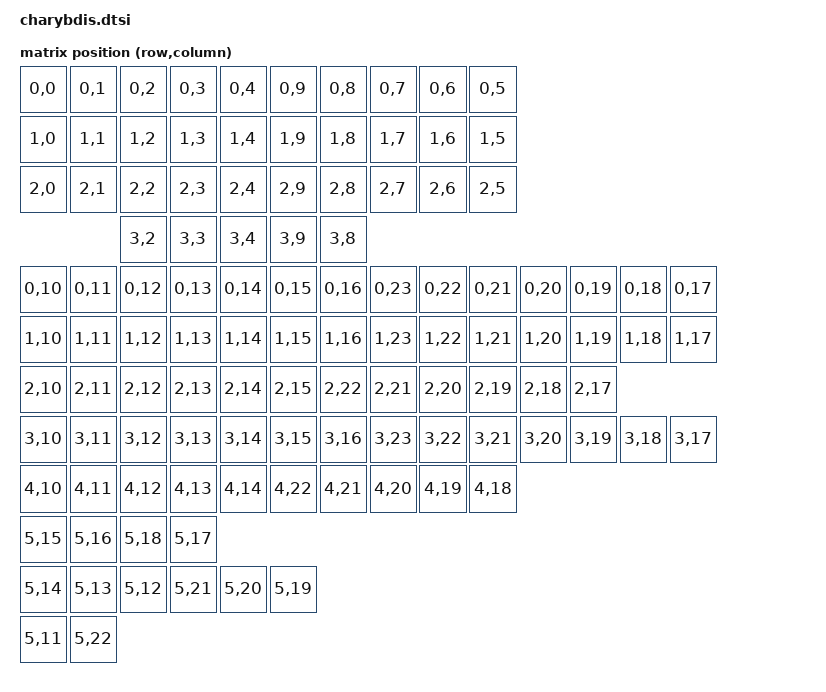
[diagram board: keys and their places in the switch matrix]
#include <dt-bindings/zmk/matrix_transform.h>
#include <physical_layouts.dtsi>

/ {
    chosen {
        zmk,kscan = &kscan0;
        zmk,physical-layout = &charybdis_5col_layout;
    };

    default_transform: keymap_transform_0 {
        compatible = "zmk,matrix-transform";
        columns = <24>;
        rows = <6>;

        map = <
    /* Charybdis (positions 0-34) */
    RC(0,0) RC(0,1) RC(0,2) RC(0,3) RC(0,4)  RC(0,9) RC(0,8) RC(0,7) RC(0,6) RC(0,5)
    RC(1,0) RC(1,1) RC(1,2) RC(1,3) RC(1,4)  RC(1,9) RC(1,8) RC(1,7) RC(1,6) RC(1,5)
    RC(2,0) RC(2,1) RC(2,2) RC(2,3) RC(2,4)  RC(2,9) RC(2,8) RC(2,7) RC(2,6) RC(2,5)
                    RC(3,2) RC(3,3) RC(3,4)  RC(3,9) RC(3,8)
    /* Ergodox (positions 35-110, 76 keys) */
    /* Row 0 - number row: 7L + 7R */
    RC(0,10) RC(0,11) RC(0,12) RC(0,13) RC(0,14) RC(0,15) RC(0,16)  RC(0,23) RC(0,22) RC(0,21) RC(0,20) RC(0,19) RC(0,18) RC(0,17)
    /* Row 1 - top alpha: 7L + 7R */
    RC(1,10) RC(1,11) RC(1,12) RC(1,13) RC(1,14) RC(1,15) RC(1,16)  RC(1,23) RC(1,22) RC(1,21) RC(1,20) RC(1,19) RC(1,18) RC(1,17)
    /* Row 2 - home row: 6L + 6R (no inner column) */
    RC(2,10) RC(2,11) RC(2,12) RC(2,13) RC(2,14) RC(2,15)  RC(2,22) RC(2,21) RC(2,20) RC(2,19) RC(2,18) RC(2,17)
    /* Row 3 - bottom alpha: 7L + 7R */
    RC(3,10) RC(3,11) RC(3,12) RC(3,13) RC(3,14) RC(3,15) RC(3,16)  RC(3,23) RC(3,22) RC(3,21) RC(3,20) RC(3,19) RC(3,18) RC(3,17)
    /* Row 4 - bottom mods: 5L + 5R */
    RC(4,10) RC(4,11) RC(4,12) RC(4,13) RC(4,14)  RC(4,22) RC(4,21) RC(4,20) RC(4,19) RC(4,18)
    /* Row 5 - thumb cluster: 6L + 6R */
    RC(5,15) RC(5,16)  RC(5,18) RC(5,17)
    RC(5,14) RC(5,13) RC(5,12)  RC(5,21) RC(5,20) RC(5,19)
    RC(5,11)  RC(5,22)

        >;
    };

    kscan0: kscan {
        diode-direction = "row2col";
	    wakeup-source;
    };

    charybdis_5col_layout: charybdis_5col_layout{
        compatible = "zmk,physical-layout";
        display-name = "5-column";

        transform = <&default_transform>;

        keys  //                     w   h    x    y     rot    rx    ry
            = <&key_physical_attrs 100 100    0   57       0     0     0>
            , <&key_physical_attrs 100 100  100   12       0     0     0>
            , <&key_physical_attrs 100 100  200    0       0     0     0>
            , <&key_physical_attrs 100 100  300   12       0     0     0>
            , <&key_physical_attrs 100 100  400   12       0     0     0>
            , <&key_physical_attrs 100 100  800   12       0     0     0>
            , <&key_physical_attrs 100 100  900   12       0     0     0>
            , <&key_physical_attrs 100 100 1000    0       0     0     0>
            , <&key_physical_attrs 100 100 1100   12       0     0     0>
            , <&key_physical_attrs 100 100 1200   57       0     0     0>
            , <&key_physical_attrs 100 100    0  157       0     0     0>
            , <&key_physical_attrs 100 100  100  112       0     0     0>
            , <&key_physical_attrs 100 100  200  100       0     0     0>
            , <&key_physical_attrs 100 100  300  112       0     0     0>
            , <&key_physical_attrs 100 100  400  112       0     0     0>
            , <&key_physical_attrs 100 100  800  112       0     0     0>
            , <&key_physical_attrs 100 100  900  112       0     0     0>
            , <&key_physical_attrs 100 100 1000  100       0     0     0>
            , <&key_physical_attrs 100 100 1100  112       0     0     0>
            , <&key_physical_attrs 100 100 1200  157       0     0     0>
            , <&key_physical_attrs 100 100    0  257       0     0     0>
            , <&key_physical_attrs 100 100  100  212       0     0     0>
            , <&key_physical_attrs 100 100  200  200       0     0     0>
            , <&key_physical_attrs 100 100  300  212       0     0     0>
            , <&key_physical_attrs 100 100  400  212       0     0     0>
            , <&key_physical_attrs 100 100  800  212       0     0     0>
            , <&key_physical_attrs 100 100  900  212       0     0     0>
            , <&key_physical_attrs 100 100 1000  200       0     0     0>
            , <&key_physical_attrs 100 100 1100  212       0     0     0>
            , <&key_physical_attrs 100 100 1200  257       0     0     0>
            , <&key_physical_attrs 100 100  248  312       0     0     0>
            , <&key_physical_attrs 100 100  248  312    1500   298   789>
            , <&key_physical_attrs 100 100  248  312    3000   298   789>
            , <&key_physical_attrs 100 100  952  312 (-3000)  1002   789>
            , <&key_physical_attrs 100 100  952  312 (-1500)  1002   789>
            ;
    };

    charybdis_position_map {
        compatible = "zmk,physical-layout-position-map";

        complete;

        ten {
            physical-layout = <&charybdis_5col_layout>;
            positions
                = <105  0  1  2  3  4  5  6  7  8  9 106>
                , <107 10 11 12 13 14 15 16 17 18 19 108>
                , <109 20 21 22 23 24 25 26 27 28 29 110>
                , <          30 31 32 33 34             >
                ;
        };
    };

    split_inputs {
        #address-cells = <1>;
        #size-cells = <0>;

        trackball_split: trackball_split@0 {
            compatible = "zmk,input-split";
            reg = <0>;
        };
    };
};
